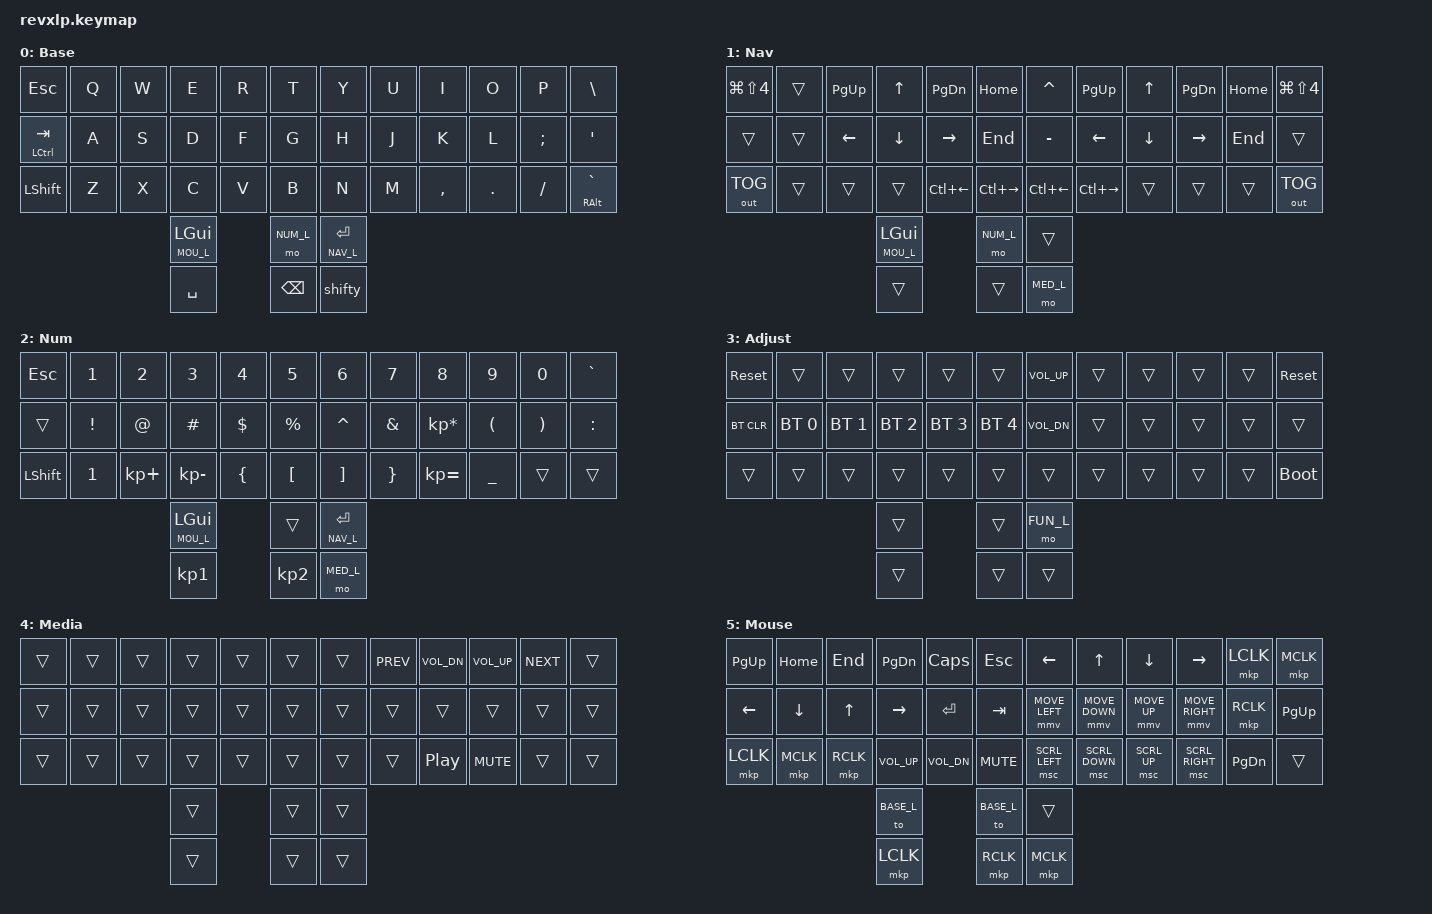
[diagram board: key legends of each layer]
/*
 * Copyright (c) 2020 The ZMK Contributors
 *
 * SPDX-License-Identifier: MIT
 *
 * Revision (2026): alsibir
 */

/* Краткое описание конфигурации:
 * - Слои: BASE_L (Base), NAV_L (Nav), NUM_L (Num), MED_L (Adjust, tri-layer), FUN_L (Media), MOU_L (Mouse), reserved_layer (отключён).
 * - Tri-layer: MED_L активируется при одновременной активности NUM_L и NAV_L.
 * - shifty (Тамб-6): tap-dance: 1 нажатие — sticky Shift, 2 нажатия — caps word.
 * - Переключение раскладки по D+F / J+K на базовом слое: отправка хоткеев ОС Alt+LShift (EN) / Alt+RShift (RU).
 * - GUI + Space реализовано без combos через sticky GUI на 2 секунды (исключает лаги на SPACE).
 *
 * Нумерация кнопок тамб-кластера (слева направо, по всей клавиатуре):
 * - Тамб-1, Тамб-2, Тамб-3 — три кнопки левого тамб-кластера (слева направо);
 * - Тамб-4, Тамб-5, Тамб-6 — три кнопки правого тамб-кластера (слева направо).
 * Примечание: в разметке bindings ниже каждая из 6 тамб-кнопок снабжена комментарием вида «Тамб-n».
 */

#include <behaviors.dtsi>
#include <dt-bindings/zmk/bt.h>
#include <dt-bindings/zmk/keys.h>
#include <dt-bindings/zmk/outputs.h>

/* Примечание: использование &mmv/&msc/&mkp требует включения поддержки pointing (например, CONFIG_ZMK_POINTING=y).
 * Примечание: включение/отключение pointing изменяет HID-описатель; для BLE может потребоваться обновление HID-описателя на стороне хоста.
 */
#include <dt-bindings/zmk/pointing.h>

// -----------------------------------------------------------------------------
// Definitions
// -----------------------------------------------------------------------------

/* Для генерации прошивки с раскладкой Colemak закомментировать следующую строку (#define QWERTY_BASE). */
#define QWERTY_BASE

/* Индексы слоёв соответствуют порядку узлов внутри keymap (первый слой имеет индекс 0). */
#define BASE_L 0
#define NAV_L 1
#define NUM_L 2
#define MED_L 3
#define FUN_L 4
#define MOU_L 5

/* Унифицированные константы настройки combos */
#define COMBO_TIMEOUT_MS 120
#define COMBO_TIMEOUT_COMMAND_MS COMBO_TIMEOUT_MS

/* Параметры combos выбора раскладки (D+F, J+K). */
#define COMBO_TIMEOUT_LANG_SEL_MS 70
#define COMBO_IDLE_LANG_SEL_MS 250

#define COMBO_IDLE_SYMBOL_MS 150
#define COMBO_IDLE_COMMAND_MS 150
#define COMBO_IDLE_DANGER_MS 250

/* Унифицированные константы для tap-dance */
#define TAP_DANCE_TERM_MS 150

/* Позиции клавиш для combos переключения раскладки (зависят от выбранной базовой раскладки).
 * Примечание: combos в ZMK задаются физическими позициями, а не символами.
 */
#ifdef QWERTY_BASE
#define COMBO_LANG_EN_POS 15 16
#define COMBO_LANG_RU_POS 19 20
#else
#define COMBO_LANG_EN_POS 28 3
#define COMBO_LANG_RU_POS 6 30
#endif

/ {
    // -------------------------------------------------------------------------
    // Conditional layers (tri-layer)
    // -------------------------------------------------------------------------
    cond_layers {
        compatible = "zmk,conditional-layers";
        tri {
            if-layers = <NUM_L NAV_L>;
            then-layer = <MED_L>;
        };
    };

    // -------------------------------------------------------------------------
    // Macros
    // -------------------------------------------------------------------------
    macros {
        /* Опционально: GUI + Space (не используется в combos). */
        lang_tog: lang_tog {
            compatible = "zmk,behavior-macro";
            #binding-cells = <0>;
            wait-ms = <0>;
            tap-ms  = <25>;
            bindings
                = <&macro_press     &kp LGUI>
                , <&macro_wait_time 10>
                , <&macro_tap       &kp SPACE>
                , <&macro_wait_time 10>
                , <&macro_release   &kp LGUI>
                ;
        };

        /* Переключение раскладки через хоткеи ОС:
         * - EN: Alt + Left Shift
         * - RU: Alt + Right Shift
         *
         * Примечание: при необходимости допускается замена LALT на RALT в соответствии с настройками ОС.
         */
        lang_en_os: lang_en_os {
            compatible = "zmk,behavior-macro";
            #binding-cells = <0>;
            wait-ms = <0>;
            tap-ms  = <25>;
            bindings
                = <&macro_press     &kp LALT>
                , <&macro_wait_time 10>
                , <&macro_tap       &kp LSHFT>
                , <&macro_wait_time 10>
                , <&macro_release   &kp LALT>
                ;
        };

        lang_ru_os: lang_ru_os {
            compatible = "zmk,behavior-macro";
            #binding-cells = <0>;
            wait-ms = <0>;
            tap-ms  = <25>;
            bindings
                = <&macro_press     &kp LALT>
                , <&macro_wait_time 10>
                , <&macro_tap       &kp RSHFT>
                , <&macro_wait_time 10>
                , <&macro_release   &kp LALT>
                ;
        };
    };

    // -------------------------------------------------------------------------
    // Combos
    // -------------------------------------------------------------------------
    combos {
        compatible = "zmk,combos";

        l_curly_bracket {
            timeout-ms = <COMBO_TIMEOUT_MS>;
            key-positions = <2 14>;
            bindings = <&kp LS(LBKT)>;
            layers = <NUM_L>;
        };

        r_curly_bracket {
            timeout-ms = <COMBO_TIMEOUT_MS>;
            key-positions = <4 16>;
            bindings = <&kp LS(RBKT)>;
            layers = <NUM_L>;
        };

        lbracket {
            timeout-ms = <COMBO_TIMEOUT_MS>;
            key-positions = <14 26>;
            bindings = <&kp LBKT>;
            layers = <NUM_L>;
        };

        rbracket {
            timeout-ms = <COMBO_TIMEOUT_MS>;
            key-positions = <16 28>;
            bindings = <&kp RBKT>;
            layers = <NUM_L>;
        };

        ques_mark_combo {
            timeout-ms = <COMBO_TIMEOUT_MS>;
            require-prior-idle-ms = <COMBO_IDLE_SYMBOL_MS>;
            key-positions = <21 33>;
            bindings = <&kp LS(FSLH)>;
        };

        bslash_combo {
            timeout-ms = <COMBO_TIMEOUT_MS>;
            require-prior-idle-ms = <COMBO_IDLE_SYMBOL_MS>;
            key-positions = <10 22>;
            bindings = <&kp BSLH>;
        };

        fslash_combo {
            timeout-ms = <COMBO_TIMEOUT_MS>;
            require-prior-idle-ms = <COMBO_IDLE_SYMBOL_MS>;
            key-positions = <22 34>;
            bindings = <&kp FSLH>;
        };

        bootloader_combo {
            timeout-ms = <COMBO_TIMEOUT_COMMAND_MS>;
            require-prior-idle-ms = <COMBO_IDLE_DANGER_MS>;
            key-positions = <5 6>;
            bindings = <&bootloader>;
            layers = <MED_L>;
        };

        gui_combo {
            timeout-ms = <COMBO_TIMEOUT_COMMAND_MS>;
            require-prior-idle-ms = <COMBO_IDLE_COMMAND_MS>;
            key-positions = <16 19>;
            bindings = <&kp LGUI>;
            layers = <MED_L>;
        };

        // ---------------------------------------------------------------------
        // Language switching combos (Base layer): D+F / J+K
        // ---------------------------------------------------------------------
        // D + F -> Alt + Left Shift (EN)
        // J + K -> Alt + Right Shift (RU)
        combo_lang_en {
            timeout-ms = <COMBO_TIMEOUT_LANG_SEL_MS>;
            require-prior-idle-ms = <COMBO_IDLE_LANG_SEL_MS>;
            key-positions = <COMBO_LANG_EN_POS>;
            layers = <BASE_L>;
            bindings = <&lang_en_os>;
        };

        combo_lang_ru {
            timeout-ms = <COMBO_TIMEOUT_LANG_SEL_MS>;
            require-prior-idle-ms = <COMBO_IDLE_LANG_SEL_MS>;
            key-positions = <COMBO_LANG_RU_POS>;
            layers = <BASE_L>;
            bindings = <&lang_ru_os>;
        };

        /* ВАЖНО: combo для GUI + Space не применяется, чтобы исключить задержку SPACE. */
    };

    // -------------------------------------------------------------------------
    // Custom behaviors
    // -------------------------------------------------------------------------
    behaviors {
        /* shifty (Тамб-6): tap-dance.
         * - 1 нажатие: sticky Left Shift (действует на следующую клавишу).
         * - 2 нажатия: caps word (заглавные буквы до завершения режимом).
         * Требование к темпу: двойное нажатие выполнить в пределах TAP_DANCE_TERM_MS.
         */
        shifty: shifty {
            compatible = "zmk,behavior-tap-dance";
            label = "SHIFTY";
            #binding-cells = <0>;
            tapping-term-ms = <TAP_DANCE_TERM_MS>;
            bindings = <&sk LSHFT>, <&caps_word>;
        };

        /* Sticky GUI на 2 секунды:
         * - lazy исключает отправку «одиночного GUI» на хост до нажатия следующей клавиши.
         */
        sk2s: sticky_key_2s {
            compatible = "zmk,behavior-sticky-key";
            #binding-cells = <1>;
            bindings = <&kp>;
            release-after-ms = <2000>;
            quick-release;
            lazy;
        };

        /* Поведение «mou_gui» назначено на Тамб-1 во всех слоях, где оно присутствует в тамб-кластере.
         * - удержание: &mo MOU_L
         * - нажатие:  sticky GUI (LGUI) на 2 секунды
         */
        mou_gui: mouse_layer_sticky_gui {
            compatible = "zmk,behavior-hold-tap";
            #binding-cells = <2>;
            flavor = "tap-preferred";
            tapping-term-ms = <200>;
            quick-tap-ms = <0>;
            bindings = <&mo>, <&sk2s>;
        };
    };

    // -------------------------------------------------------------------------
    // Keymap
    // -------------------------------------------------------------------------
    keymap {
        compatible = "zmk,keymap";

        #ifdef QWERTY_BASE

        qwerty_layer {
            display-name = "Base";
            bindings = <
// +----------------+----------------+----------------+-----------------+-----------------+-------------+       +----------------+----------------+------------------+-----------------+------------+--------------+
     &kp ESC          &kp Q            &kp W            &kp E             &kp R             &kp T                 &kp Y            &kp U            &kp I              &kp O             &kp P        &kp BSLH
// +----------------+----------------+----------------+-----------------+-----------------+-------------+       +----------------+----------------+------------------+-----------------+------------+--------------+
     &mt LCTRL TAB    &kp A            &kp S            &kp D             &kp F             &kp G                 &kp H            &kp J            &kp K              &kp L             &kp SEMI     &kp SQT
// +----------------+----------------+----------------+-----------------+-----------------+-------------+       +----------------+----------------+------------------+-----------------+------------+--------------+
     &kp LSHFT        &kp Z            &kp X            &kp C             &kp V             &kp B                 &kp N            &kp M            &kp COMMA          &kp DOT           &kp FSLH     &mt RALT GRAVE
// +----------------+----------------+----------------+-----------------+-----------------+-------------+       +----------------+----------------+------------------+-----------------+------------+--------------+
//                                                    +-----------------+-----------------+-------------+       +----------------+----------------+------------------+
                                                        &mou_gui MOU_L LGUI /* Тамб-1 */  &mo NUM_L        /* Тамб-2 */  &lt NAV_L RET /* Тамб-3 */
                                                        &kp SPACE            /* Тамб-4 */  &kp BSPC        /* Тамб-5 */  &shifty       /* Тамб-6 */
//                                                    +-----------------+-----------------+-------------+       +----------------+----------------+------------------+
            >;
        };

        #else

        colemak_dhm_layer {
            display-name = "Base";
            bindings = <
// +----------------+----------------+----------------+-----------------+-----------------+-------------+       +----------------+----------------+------------------+-----------------+------------+--------------+
     &kp ESC          &kp Q            &kp W            &kp F             &kp P             &kp B                 &kp J            &kp L            &kp U              &kp Y             &kp SQT      &kp BSLH
// +----------------+----------------+----------------+-----------------+-----------------+-------------+       +----------------+----------------+------------------+-----------------+------------+--------------+
     &mt LCTRL TAB    &kp A            &kp R            &kp S             &kp T             &kp G                 &kp M            &kp N            &kp E              &kp I             &kp O        &kp SEMI
// +----------------+----------------+----------------+-----------------+-----------------+-------------+       +----------------+----------------+------------------+-----------------+------------+--------------+
     &kp LSHFT        &kp Z            &kp X            &kp C             &kp D             &kp V                 &kp K            &kp H            &kp COMMA          &kp DOT           &kp FSLH     &mt RALT GRAVE
// +----------------+----------------+----------------+-----------------+-----------------+-------------+       +----------------+----------------+------------------+-----------------+------------+--------------+
//                                                    +-----------------+-----------------+-------------+       +----------------+----------------+------------------+
                                                        &mou_gui MOU_L LGUI /* Тамб-1 */  &mo NUM_L        /* Тамб-2 */  &lt NAV_L RET /* Тамб-3 */
                                                        &kp SPACE            /* Тамб-4 */  &kp BSPC        /* Тамб-5 */  &shifty       /* Тамб-6 */
//                                                    +-----------------+-----------------+-------------+       +----------------+----------------+------------------+
            >;
        };

        #endif

        nav_layer {
            display-name = "Nav";
            bindings = <
// +----------------+----------------+----------------+-----------------+-----------------+-------------+       +----------------+----------------+------------------+-----------------+------------+--------------+
     &kp LG(LS(N4))   &trans           &kp PG_UP        &kp UP_ARROW      &kp PG_DN         &kp HOME              &kp CARET        &kp PG_UP        &kp UP_ARROW       &kp PG_DN         &kp HOME     &kp LG(LS(N4))
// +----------------+----------------+----------------+-----------------+-----------------+-------------+       +----------------+----------------+------------------+-----------------+------------+--------------+
     &trans           &trans           &kp LEFT_ARROW   &kp DOWN_ARROW    &kp RIGHT_ARROW   &kp END               &kp MINUS        &kp LEFT_ARROW   &kp DOWN_ARROW     &kp RIGHT_ARROW   &kp END      &trans
// +----------------+----------------+----------------+-----------------+-----------------+-------------+       +----------------+----------------+------------------+-----------------+------------+--------------+
     &out OUT_TOG     &trans           &trans           &trans            &kp LC(LEFT)      &kp LC(RIGHT)         &kp LC(LEFT)     &kp LC(RIGHT)    &trans             &trans            &trans       &out OUT_TOG
// +----------------+----------------+----------------+-----------------+-----------------+-------------+       +----------------+----------------+------------------+-----------------+------------+--------------+
//                                                    +-----------------+-----------------+-------------+       +----------------+----------------+------------------+
                                                        &mou_gui MOU_L LGUI /* Тамб-1 */  &mo NUM_L      /* Тамб-2 */  &trans         /* Тамб-3 */
                                                        &trans               /* Тамб-4 */  &trans        /* Тамб-5 */  &mo MED_L      /* Тамб-6 */
//                                                    +-----------------+-----------------+-------------+       +----------------+----------------+------------------+
            >;
        };

        num_layer {
            display-name = "Num";
            bindings = <
// +----------------+----------------+----------------+-----------------+-----------------+-------------+       +----------------+----------------+------------------+-----------------+------------+--------------+
     &kp ESC          &kp N1           &kp N2           &kp N3            &kp N4            &kp N5                &kp N6           &kp N7           &kp N8             &kp N9            &kp N0       &kp GRAVE
// +----------------+----------------+----------------+-----------------+-----------------+-------------+       +----------------+----------------+------------------+-----------------+------------+--------------+
     &trans           &kp EXCL         &kp AT           &kp HASH          &kp DLLR          &kp PRCNT             &kp CARET        &kp AMPS         &kp KP_MULTIPLY    &kp LPAR          &kp RPAR     &kp COLON
// +----------------+----------------+----------------+-----------------+-----------------+-------------+       +----------------+----------------+------------------+-----------------+------------+--------------+
     &kp LSHFT        &kp N1           &kp KP_PLUS      &kp KP_MINUS      &kp LBRC          &kp LBKT              &kp RBKT         &kp RBRC         &kp KP_EQUAL       &kp UNDER         &trans       &trans
// +----------------+----------------+----------------+-----------------+-----------------+-------------+       +----------------+----------------+------------------+-----------------+------------+--------------+
//                                                    +-----------------+-----------------+-------------+       +----------------+----------------+------------------+
                                                        &mou_gui MOU_L LGUI /* Тамб-1 */  &trans        /* Тамб-2 */  &lt NAV_L RET /* Тамб-3 */
                                                        &kp KP_N1           /* Тамб-4 */  &kp KP_N2     /* Тамб-5 */  &mo MED_L      /* Тамб-6 */
//                                                    +-----------------+-----------------+-------------+       +----------------+----------------+------------------+
            >;
        };

        adjust_layer {
            display-name = "Adjust";
            bindings = <
// +----------------+----------------+----------------+-----------------+-----------------+-------------+       +----------------+----------------+------------------+-----------------+------------+--------------+
     &sys_reset       &trans           &trans           &trans            &trans            &trans                &kp C_VOL_UP     &trans           &trans             &trans            &trans       &sys_reset
// +----------------+----------------+----------------+-----------------+-----------------+-------------+       +----------------+----------------+------------------+-----------------+------------+--------------+
     &bt BT_CLR       &bt BT_SEL 0     &bt BT_SEL 1     &bt BT_SEL 2      &bt BT_SEL 3      &bt BT_SEL 4          &kp C_VOL_DN     &trans           &trans             &trans            &trans       &trans
// +----------------+----------------+----------------+-----------------+-----------------+-------------+       +----------------+----------------+------------------+-----------------+------------+--------------+
     &trans           &trans           &trans           &trans            &trans            &trans                &trans           &trans           &trans             &trans            &trans       &bootloader
// +----------------+----------------+----------------+-----------------+-----------------+-------------+       +----------------+----------------+------------------+-----------------+------------+--------------+
//                                                    +-----------------+-----------------+-------------+       +----------------+----------------+------------------+
                                                        &trans              /* Тамб-1 */  &trans        /* Тамб-2 */  &mo FUN_L     /* Тамб-3 */
                                                        &trans              /* Тамб-4 */  &trans        /* Тамб-5 */  &trans        /* Тамб-6 */
//                                                    +-----------------+-----------------+-------------+       +----------------+----------------+------------------+
            >;
        };

        media_layer {
            display-name = "Media";
            bindings = <
// +----------------+----------------+----------------+----------------+-----------------+-------------+       +----------------+----------------+------------------+-----------------+------------+--------------+
     &trans           &trans           &trans           &trans           &trans            &trans                &trans           &kp C_PREV       &kp C_VOL_DN       &kp C_VOL_UP      &kp C_NEXT   &trans
// +----------------+----------------+----------------+----------------+-----------------+-------------+       +----------------+----------------+------------------+-----------------+------------+--------------+
     &trans           &trans           &trans           &trans           &trans            &trans                &trans           &trans           &trans             &trans            &trans       &trans
// +----------------+----------------+----------------+----------------+-----------------+-------------+       +----------------+----------------+------------------+-----------------+------------+--------------+
     &trans           &trans           &trans           &trans           &trans            &trans                &trans           &trans           &kp C_PLAY_PAUSE   &kp C_MUTE        &trans       &trans
// +----------------+----------------+----------------+----------------+-----------------+-------------+       +----------------+----------------+------------------+-----------------+------------+--------------+
//                                                    +-----------------+----------------+-------------+       +----------------+----------------+------------------+
                                                        &trans              /* Тамб-1 */  &trans        /* Тамб-2 */  &trans        /* Тамб-3 */
                                                        &trans              /* Тамб-4 */  &trans        /* Тамб-5 */  &trans        /* Тамб-6 */
//                                                    +-----------------+----------------+-------------+       +----------------+----------------+------------------+
            >;
        };

        mouse_layer {
            display-name = "Mouse";
            bindings = <
// +----------------+----------------+----------------+-----------------+-----------------+-------------+       +----------------+----------------+------------------+-----------------+------------+--------------+
     &kp PG_UP        &kp HOME         &kp END          &kp PG_DN         &kp CAPS          &kp ESC               &kp LEFT_ARROW   &kp UP_ARROW     &kp DOWN_ARROW     &kp RIGHT_ARROW   &mkp LCLK    &mkp MCLK
// +----------------+----------------+----------------+-----------------+-----------------+-------------+       +----------------+----------------+------------------+-----------------+------------+--------------+
     &kp LEFT_ARROW   &kp DOWN_ARROW   &kp UP_ARROW     &kp RIGHT_ARROW   &kp ENTER         &kp TAB               &mmv MOVE_LEFT   &mmv MOVE_DOWN   &mmv MOVE_UP       &mmv MOVE_RIGHT   &mkp RCLK    &kp PG_UP
// +----------------+----------------+----------------+-----------------+-----------------+-------------+       +----------------+----------------+------------------+-----------------+------------+--------------+
     &mkp LCLK        &mkp MCLK        &mkp RCLK        &kp C_VOL_UP      &kp C_VOL_DN      &kp C_MUTE            &msc SCRL_LEFT   &msc SCRL_DOWN   &msc SCRL_UP       &msc SCRL_RIGHT   &kp PG_DN    &trans
// +----------------+----------------+----------------+-----------------+-----------------+-------------+       +----------------+----------------+------------------+-----------------+------------+--------------+
//                                                    +-----------------+-----------------+-------------+       +----------------+----------------+------------------+
                                                        &to BASE_L          /* Тамб-1 */  &to BASE_L   /* Тамб-2 */  &trans      /* Тамб-3 */
                                                        &mkp LCLK           /* Тамб-4 */  &mkp RCLK    /* Тамб-5 */  &mkp MCLK    /* Тамб-6 */
//                                                    +-----------------+-----------------+-------------+       +----------------+----------------+------------------+
            >;
        };

        reserved_layer {
            status = "disabled";
            display-name = "Reserved";
        };
    };
};
